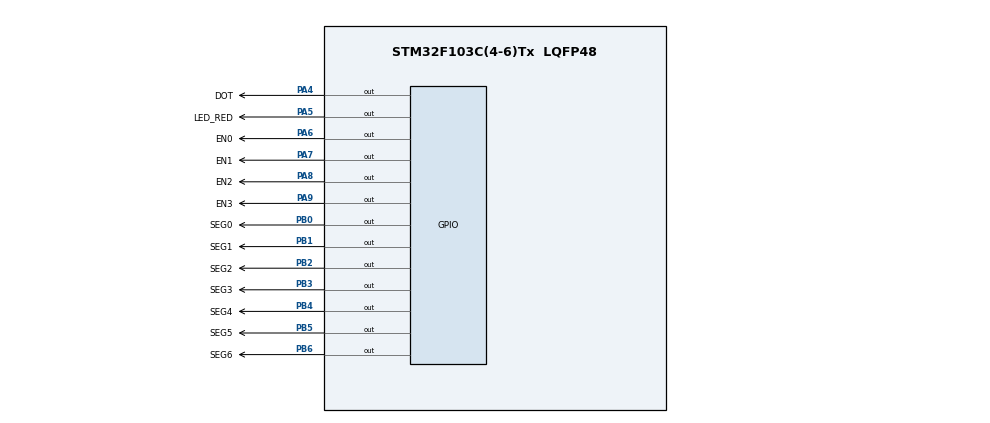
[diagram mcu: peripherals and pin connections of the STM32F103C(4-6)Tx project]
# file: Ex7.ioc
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Mcu.Family=STM32F1
Mcu.Name=STM32F103C(4-6)Tx
Mcu.Package=LQFP48
NVIC.PriorityGroup=NVIC_PRIORITYGROUP_4
NVIC.TIM2_IRQn=true\:0\:0\:false\:false\:true\:true\:true
PA4.GPIO_Label=DOT
PA4.Signal=GPIO_Output
PA5.GPIO_Label=LED_RED
PA5.Signal=GPIO_Output
PA6.GPIO_Label=EN0
PA6.Signal=GPIO_Output
PA7.GPIO_Label=EN1
PA7.Signal=GPIO_Output
PA8.GPIO_Label=EN2
PA8.Signal=GPIO_Output
PA9.GPIO_Label=EN3
PA9.Signal=GPIO_Output
PB0.GPIO_Label=SEG0
PB0.Signal=GPIO_Output
PB1.GPIO_Label=SEG1
PB1.Signal=GPIO_Output
PB2.GPIO_Label=SEG2
PB2.Signal=GPIO_Output
PB3.GPIO_Label=SEG3
PB3.Signal=GPIO_Output
PB4.GPIO_Label=SEG4
PB4.Signal=GPIO_Output
PB5.GPIO_Label=SEG5
PB5.Signal=GPIO_Output
PB6.GPIO_Label=SEG6
PB6.Signal=GPIO_Output
ProjectManager.HeapSize=0x200
ProjectManager.StackSize=0x400
ProjectManager.TargetToolchain=STM32CubeIDE
RCC.APB1Freq_Value=8000000
RCC.APB2Freq_Value=8000000
TIM2.Period=9
TIM2.Prescaler=7999
VP_SYS_VS_ND.Mode=No_Debug
VP_TIM2_VS_ClockSourceINT.Mode=Internal
board=custom

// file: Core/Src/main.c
/* USER CODE BEGIN Header */
/**
  ******************************************************************************
  * @file           : main.c
  * @brief          : Main program body
  ******************************************************************************
  * @attention
  *
  * <h2><center>&copy; Copyright (c) 2023 STMicroelectronics.
  * All rights reserved.</center></h2>
  *
  * This software component is licensed by ST under BSD 3-Clause license,
  * the "License"; You may not use this file except in compliance with the
  * License. You may obtain a copy of the License at:
  *                        opensource.org/licenses/BSD-3-Clause
  *
  ******************************************************************************
  */
/* USER CODE END Header */
#include "main.h"
#include "timer.h"
#include "control.h"

TIM_HandleTypeDef htim2;

void SystemClock_Config(void);
static void MX_GPIO_Init(void);
static void MX_TIM2_Init(void);

int main(void)
{

  /* MCU Configuration--------------------------------------------------------*/

  /* Reset of all peripherals, Initializes the Flash interface and the Systick. */
  HAL_Init();

  /* Configure the system clock */
  SystemClock_Config();

  /* Initialize all configured peripherals */
  MX_GPIO_Init();
  MX_TIM2_Init();
  HAL_TIM_Base_Start_IT(&htim2);
  setTimer(1000);
  updateClockBuffer();
  /* Infinite loop */
  /* USER CODE BEGIN WHILE */
  while (1)
  {
	  if(timer0_flag == 1){
			if(second >= 60)
			{
			  second = 0;
			  minute++;
			}
			if(minute >= 60)
			{
			  minute = 0;
			  hour++;
			}
			if(hour >= 24)
			{
			  hour = 0;
			}
			updateClockBuffer();
			setTimer(1000);
	  }
    /* USER CODE END WHILE */

  }
}

void SystemClock_Config(void)
{
  RCC_OscInitTypeDef RCC_OscInitStruct = {0};
  RCC_ClkInitTypeDef RCC_ClkInitStruct = {0};

  /** Initializes the RCC Oscillators according to the specified parameters
  * in the RCC_OscInitTypeDef structure.
  */
  RCC_OscInitStruct.OscillatorType = RCC_OSCILLATORTYPE_HSI;
  RCC_OscInitStruct.HSIState = RCC_HSI_ON;
  RCC_OscInitStruct.HSICalibrationValue = RCC_HSICALIBRATION_DEFAULT;
  RCC_OscInitStruct.PLL.PLLState = RCC_PLL_NONE;
  if (HAL_RCC_OscConfig(&RCC_OscInitStruct) != HAL_OK)
  {
    Error_Handler();
  }
  /** Initializes the CPU, AHB and APB buses clocks
  */
  RCC_ClkInitStruct.ClockType = RCC_CLOCKTYPE_HCLK|RCC_CLOCKTYPE_SYSCLK
                              |RCC_CLOCKTYPE_PCLK1|RCC_CLOCKTYPE_PCLK2;
  RCC_ClkInitStruct.SYSCLKSource = RCC_SYSCLKSOURCE_HSI;
  RCC_ClkInitStruct.AHBCLKDivider = RCC_SYSCLK_DIV1;
  RCC_ClkInitStruct.APB1CLKDivider = RCC_HCLK_DIV1;
  RCC_ClkInitStruct.APB2CLKDivider = RCC_HCLK_DIV1;

  if (HAL_RCC_ClockConfig(&RCC_ClkInitStruct, FLASH_LATENCY_0) != HAL_OK)
  {
    Error_Handler();
  }
}

static void MX_TIM2_Init(void)
{

  TIM_ClockConfigTypeDef sClockSourceConfig = {0};
  TIM_MasterConfigTypeDef sMasterConfig = {0};

  htim2.Instance = TIM2;
  htim2.Init.Prescaler = 7999;
  htim2.Init.CounterMode = TIM_COUNTERMODE_UP;
  htim2.Init.Period = 9;
  htim2.Init.ClockDivision = TIM_CLOCKDIVISION_DIV1;
  htim2.Init.AutoReloadPreload = TIM_AUTORELOAD_PRELOAD_DISABLE;
  if (HAL_TIM_Base_Init(&htim2) != HAL_OK)
  {
    Error_Handler();
  }
  sClockSourceConfig.ClockSource = TIM_CLOCKSOURCE_INTERNAL;
  if (HAL_TIM_ConfigClockSource(&htim2, &sClockSourceConfig) != HAL_OK)
  {
    Error_Handler();
  }
  sMasterConfig.MasterOutputTrigger = TIM_TRGO_RESET;
  sMasterConfig.MasterSlaveMode = TIM_MASTERSLAVEMODE_DISABLE;
  if (HAL_TIMEx_MasterConfigSynchronization(&htim2, &sMasterConfig) != HAL_OK)
  {
    Error_Handler();
  }

}

static void MX_GPIO_Init(void)
{
  GPIO_InitTypeDef GPIO_InitStruct = {0};

  /* GPIO Ports Clock Enable */
  __HAL_RCC_GPIOA_CLK_ENABLE();
  __HAL_RCC_GPIOB_CLK_ENABLE();

  /*Configure GPIO pin Output Level */
  HAL_GPIO_WritePin(GPIOA, DOT_Pin|LED_RED_Pin|EN0_Pin|EN1_Pin
                          |EN2_Pin|EN3_Pin, GPIO_PIN_RESET);

  /*Configure GPIO pin Output Level */
  HAL_GPIO_WritePin(GPIOB, SEG0_Pin|SEG1_Pin|SEG2_Pin|SEG3_Pin
                          |SEG4_Pin|SEG5_Pin|SEG6_Pin, GPIO_PIN_RESET);

  /*Configure GPIO pins : DOT_Pin LED_RED_Pin EN0_Pin EN1_Pin
                           EN2_Pin EN3_Pin */
  GPIO_InitStruct.Pin = DOT_Pin|LED_RED_Pin|EN0_Pin|EN1_Pin
                          |EN2_Pin|EN3_Pin;
  GPIO_InitStruct.Mode = GPIO_MODE_OUTPUT_PP;
  GPIO_InitStruct.Pull = GPIO_NOPULL;
  GPIO_InitStruct.Speed = GPIO_SPEED_FREQ_LOW;
  HAL_GPIO_Init(GPIOA, &GPIO_InitStruct);

  /*Configure GPIO pins : SEG0_Pin SEG1_Pin SEG2_Pin SEG3_Pin
                           SEG4_Pin SEG5_Pin SEG6_Pin */
  GPIO_InitStruct.Pin = SEG0_Pin|SEG1_Pin|SEG2_Pin|SEG3_Pin
                          |SEG4_Pin|SEG5_Pin|SEG6_Pin;
  GPIO_InitStruct.Mode = GPIO_MODE_OUTPUT_PP;
  GPIO_InitStruct.Pull = GPIO_NOPULL;
  GPIO_InitStruct.Speed = GPIO_SPEED_FREQ_LOW;
  HAL_GPIO_Init(GPIOB, &GPIO_InitStruct);

}

/* USER CODE BEGIN 4 */
int seg_counter = 25;
int led_counter = 100;
void HAL_TIM_PeriodElapsedCallback(TIM_HandleTypeDef *htim){
  timerRun();
  if(seg_counter > 0)
  {
    seg_counter--;
    if(seg_counter <= 0)
    {
    	update7SEG(index_led);
    	index_led++;
    	if(index_led > 3) index_led = 0;
    	seg_counter = 25;
    }
  }
  if(led_counter > 0)
  {
    led_counter--;
    if(led_counter <= 0)
    {
      led_counter = 100;
     HAL_GPIO_TogglePin(GPIOA, LED_RED_Pin | DOT_Pin);
    }
  }
}
/* USER CODE END 4 */

void Error_Handler(void)
{
  __disable_irq();
  while (1)
  {
  }
}

/************************ (C) COPYRIGHT STMicroelectronics *****END OF FILE****/
